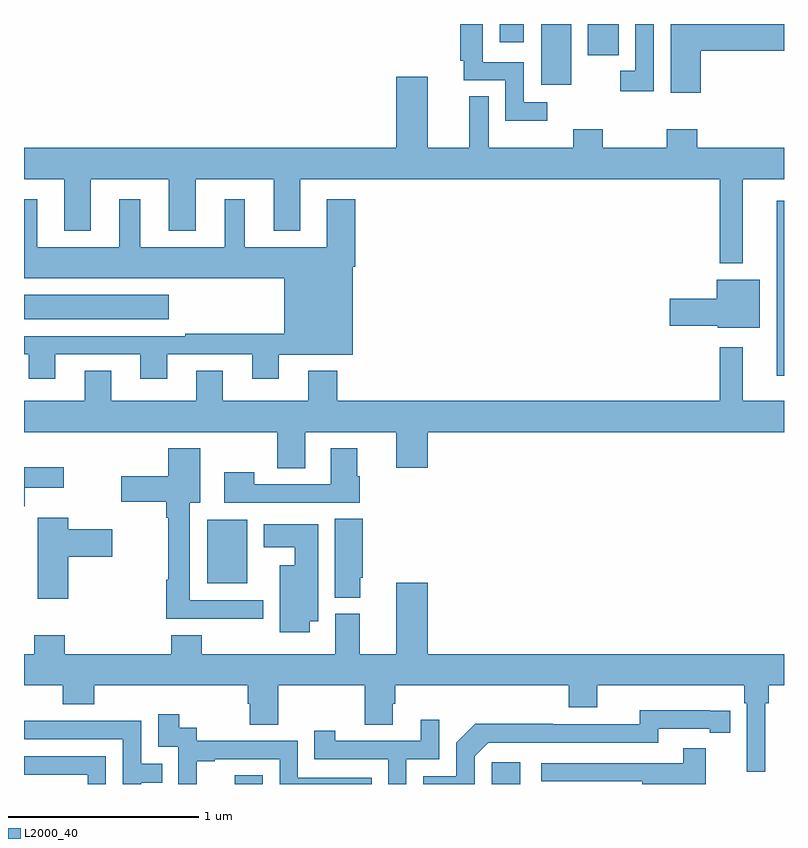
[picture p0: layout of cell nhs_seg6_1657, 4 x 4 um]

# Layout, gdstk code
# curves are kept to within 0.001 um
import gdstk
lib = gdstk.Library(unit=1e-6, precision=1e-09)
def R(c, l, rs):  # rectangles x0, y0, x1, y1
    for r in rs: c.add(gdstk.rectangle(r[:2], r[2:], *l))
def P(c, l, *ps):  # polygons
    for p in ps: c.add(gdstk.Polygon(p, *l))
L2000_40 = (2000, 40)

nhs_seg6_1657 = lib.new_cell('nhs_seg6_1657')
R(nhs_seg6_1657, L2000_40, [(212.109,929.5,212.256,929.545), (213.462,929.5,213.613,929.614), (211.964,930.557,212.176,930.892), (214.961,931.649,215,932.569), (211,931.946,211.762,932.074), (213.722,933.18,213.88,933.5), (213.968,933.336,214.129,933.5), (213.503,933.405,213.63,933.5)])
P(nhs_seg6_1657, L2000_40, [(213.754,933.087),(213.63,933.087),(213.63,933.3),(213.415,933.3),(213.415,933.5),(213.297,933.5),(213.297,933.307),(213.314,933.307),(213.314,933.204),(213.534,933.204),(213.534,932.99),(213.754,932.99)],
  [(214.314,933.5),(214.218,933.5),(214.218,933.255),(214.137,933.255),(214.137,933.147),(214.314,933.147)],
  [(214.562,933.359),(215,933.359),(215,933.5),(214.403,933.5),(214.403,933.138),(214.562,933.138)],
  [(214.783,932.684),(215,932.684),(215,932.848),(214.544,932.848),(214.544,932.947),(214.384,932.947),(214.384,932.848),(214.047,932.848),(214.047,932.947),(213.892,932.947),(213.892,932.848),(213.445,932.848),(213.445,933.119),(213.344,933.119),(213.344,932.848),(213.124,932.848),(213.124,933.223),(212.96,933.223),(212.96,932.848),(211,932.848),(211,932.684),(211.211,932.684),(211.211,932.411),(211.351,932.411),(211.351,932.684),(211.763,932.684),(211.763,932.411),(211.903,932.411),(211.903,932.684),(212.315,932.684),(212.315,932.411),(212.455,932.411),(212.455,932.684),(214.662,932.684),(214.662,932.24),(214.783,932.24)],
  [(211.165,931.761),(211.613,931.761),(211.613,931.632),(211.753,931.632),(211.753,931.761),(212.201,931.761),(212.201,931.632),(212.341,931.632),(212.341,931.76),(212.731,931.76),(212.731,932.222),(212.744,932.222),(212.744,932.578),(212.594,932.578),(212.594,932.326),(212.161,932.326),(212.161,932.578),(212.057,932.578),(212.057,932.326),(211.612,932.326),(211.612,932.578),(211.502,932.578),(211.502,932.326),(211.069,932.326),(211.069,932.578),(211,932.578),(211,932.162),(212.369,932.162),(212.369,931.87),(211.849,931.87),(211.849,931.857),(211,931.857),(211,931.761),(211.025,931.761),(211.025,931.632),(211.165,931.632)],
  [(214.873,932.155),(214.646,932.155),(214.646,932.054),(214.398,932.054),(214.398,931.912),(214.65,931.912),(214.65,931.901),(214.873,931.901)],
  [(212.479,931.352),(212.96,931.352),(212.96,931.164),(213.124,931.164),(213.124,931.352),(215,931.352),(215,931.516),(214.783,931.516),(214.783,931.798),(214.662,931.798),(214.662,931.516),(212.648,931.516),(212.648,931.675),(212.495,931.675),(212.495,931.516),(212.047,931.516),(212.047,931.676),(211.907,931.676),(211.907,931.516),(211.459,931.516),(211.459,931.676),(211.319,931.676),(211.319,931.516),(211,931.516),(211,931.352),(212.332,931.352),(212.332,931.162),(212.479,931.162)],
  [(212.26,930.468),(211.873,930.468),(211.873,930.98),(211.927,930.98),(211.927,931.267),(211.76,931.267),(211.76,931.12),(211.512,931.12),(211.512,930.986),(211.748,930.986),(211.748,930.902),(211.76,930.902),(211.76,930.575),(211.748,930.575),(211.748,930.371),(212.26,930.371)],
  [(212.768,931.119),(212.755,931.119),(212.755,931.267),(212.615,931.267),(212.615,931.077),(212.211,931.077),(212.211,931.141),(212.055,931.141),(212.055,930.981),(212.768,930.981)],
  [(211.004,931.058),(211.21,931.058),(211.21,931.166),(211,931.166),(211,930.962),(211.004,930.962)],
  [(211.232,930.695),(211.465,930.695),(211.465,930.842),(211.232,930.842),(211.232,930.901),(211.073,930.901),(211.073,930.474),(211.232,930.474)],
  [(212.77,930.586),(212.783,930.586),(212.783,930.896),(212.636,930.896),(212.636,930.481),(212.77,930.481)],
  [(212.503,930.356),(212.548,930.356),(212.548,930.868),(212.261,930.868),(212.261,930.746),(212.426,930.746),(212.426,930.652),(212.345,930.652),(212.345,930.3),(212.503,930.3)],
  [(211.935,930.283),(211.775,930.283),(211.775,930.184),(211.214,930.184),(211.214,930.283),(211.054,930.283),(211.054,930.184),(211,930.184),(211,930.02),(211.205,930.02),(211.205,929.921),(211.37,929.921),(211.37,930.02),(212.177,930.02),(212.177,929.922),(212.189,929.922),(212.189,929.812),(212.337,929.812),(212.337,930.02),(212.794,930.02),(212.794,929.812),(212.941,929.812),(212.941,929.922),(212.954,929.922),(212.954,930.02),(213.866,930.02),(213.866,929.903),(214.018,929.903),(214.018,930.02),(214.79,930.02),(214.79,929.924),(214.803,929.924),(214.803,929.565),(214.9,929.565),(214.9,929.924),(214.919,929.924),(214.919,930.02),(215,930.02),(215,930.184),(213.124,930.184),(213.124,930.559),(212.96,930.559),(212.96,930.184),(212.767,930.184),(212.767,930.396),(212.639,930.396),(212.639,930.184),(211.935,930.184)],
  [(213.372,929.646),(213.444,929.718),(214.338,929.718),(214.338,929.79),(214.61,929.79),(214.61,929.77),(214.718,929.77),(214.718,929.886),(214.242,929.887),(214.242,929.814),(213.782,929.814),(213.782,929.816),(213.374,929.816),(213.276,929.718),(213.276,929.541),(213.102,929.541),(213.102,929.5),(213.372,929.5)],
  [(211.91,929.619),(212.005,929.619),(212.005,929.631),(212.346,929.631),(212.346,929.5),(212.831,929.5),(212.831,929.532),(212.442,929.532),(212.442,929.727),(211.908,929.727),(211.908,929.796),(211.816,929.796),(211.816,929.866),(211.707,929.866),(211.707,929.697),(211.812,929.697),(211.812,929.5),(211.91,929.5)],
  [(213.012,929.631),(213.186,929.631),(213.186,929.839),(213.089,929.839),(213.089,929.727),(212.638,929.727),(212.638,929.779),(212.527,929.779),(212.527,929.631),(212.916,929.631),(212.916,929.5),(213.012,929.5)],
  [(211.617,929.506),(211.727,929.506),(211.727,929.607),(211.617,929.607),(211.617,929.832),(211.121,929.832),(211.121,929.834),(211,929.834),(211,929.736),(211.521,929.736),(211.521,929.5),(211.617,929.5)],
  [(214.589,929.689),(214.471,929.689),(214.471,929.61),(213.723,929.61),(213.723,929.514),(214.255,929.514),(214.255,929.5),(214.589,929.5)],
  [(211.431,929.646),(211,929.646),(211,929.55),(211.335,929.55),(211.335,929.5),(211.431,929.5)])

lib.write_gds('nhs_seg6_1657.gds')
